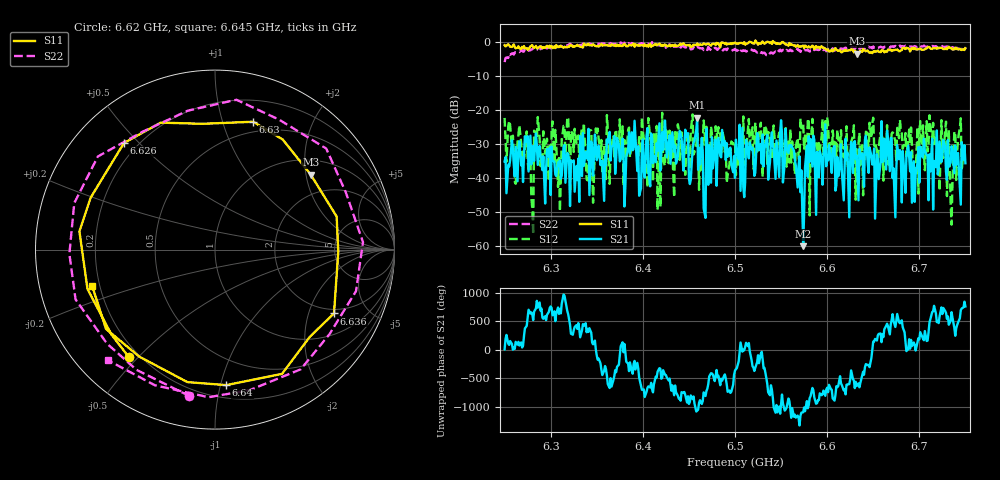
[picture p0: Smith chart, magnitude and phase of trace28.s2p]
# Hz S RI R 50
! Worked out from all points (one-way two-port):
!   401 points, 6.25 GHz to 6.75 GHz, reference 50 ohm
!   highest |S21| = -22.32 dB at 6.459 GHz (marker M1); lowest = -60.2 dB at 6.574 GHz (marker M2)
!   lowest |S11| = -3.4 dB at 6.632 GHz (marker M3), VSWR 5.20, Z = 69.2 + j107 ohm
!   |S11| at or under -10 dB: nowhere
!   |S22| runs from -5.9 to 0.0 dB; largest |S21 - S12| = 0.12
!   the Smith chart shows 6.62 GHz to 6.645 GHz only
!   S11 on the Smith chart (normalised r, x): 6.62 GHz: 0.16, -0.47; 6.626 GHz: 0.15, +0.45; 6.63 GHz: 0.40, +1.26; 6.636 GHz: 1.81, -2.96; 6.64 GHz: 0.29, -1.04; 6.645 GHz: 0.17, -0.14
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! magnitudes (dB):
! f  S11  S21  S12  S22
! 6.25 GHz  -0.9  -35.2  -22.4  -5.9
! 6.279 GHz  -1.1  -36.1  -45.4  -2.2
! 6.285 GHz  -1.8  -30.5  -28.5  -2.3
! 6.309 GHz  -1.5  -36.6  -34.2  -1.3
! 6.334 GHz  -1.5  -39.5  -25.4  -0.8
! 6.418 GHz  -0.5  -24.0  -28.8  -0.9
! 6.459 GHz  -0.4  -22.3  -26.9  -1.4
! 6.5 GHz  -0.1  -40.1  -29.6  -2.0
! 6.558 GHz  -1.1  -32.7  -29.4  -2.7
! 6.574 GHz  -1.0  -60.2  -24.0  -2.5
! 6.584 GHz  -1.0  -36.7  -22.7  -2.6
! 6.62 GHz  -2.3  -28.5  -31.8  -1.6
! 6.626 GHz  -2.1  -29.5  -29.5  -1.7
! 6.63 GHz  -2.6  -29.2  -35.7  -2.1
! 6.632 GHz  -3.4  -33.4  -31.3  -1.9
! 6.636 GHz  -2.5  -34.4  -36.4  -1.7
! 6.64 GHz  -2.4  -42.7  -35.6  -1.7
! 6.645 GHz  -2.9  -38.6  -32.8  -1.3
! 6.668 GHz  -2.4  -38.0  -29.5  -1.7
! 6.726 GHz  -2.1  -28.9  -34.2  -1.7
! 6.732 GHz  -1.4  -36.7  -25.9  -1.4
! 6.75 GHz  -1.8  -35.7  -30.4  -1.8
